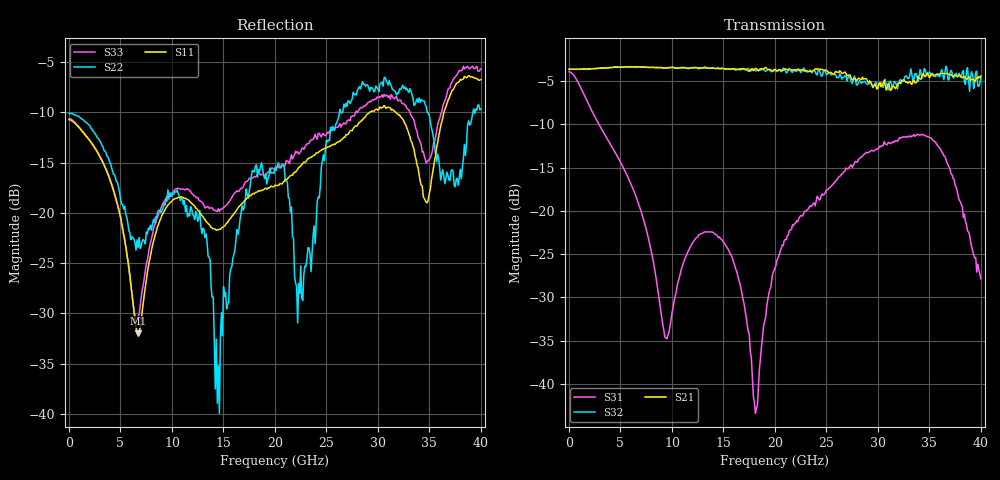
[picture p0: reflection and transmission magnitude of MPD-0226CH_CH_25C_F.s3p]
! MARKI MICROWAVE INC.
! Email:  info@markimicrowave.com  Phone:  408-778-4200
! Model Number:  MPD-0226CH  Date:  11/05/21
! Filename:		MPD-0226CH.S3P  Version: 1.0
! Description:  3-port S-parameter data for Power Divider MPD-0226CH
! Frequency Range: 	2 GHz to 26.5 GHz
! Port Configuration:	PORT 1:Output , PORT 2: COMMON, Port 3: Output
! S3P File: Measurements: Mag<S11> Ang<S11> Mag<S12> Ang<S12> Mag<S13> Ang<S13>! row 1
!  Mag<S21> Ang<S21> Mag<S22> Ang<S22> Mag<S23> Ang<S23>! row 2
!  Mag<S31> Ang<S31> Mag<S32> Ang<S32> Mag<S33> Ang<S33>! row 3
# Hz S  dB  R 50
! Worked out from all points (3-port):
!   401 points, 10 MHz to 40 GHz, reference 50 ohm
!   strongest paths, dB at 10 MHz, 10.01 GHz, 20 GHz, 30 GHz, 40 GHz:
!     S21: -3.7, -3.4, -3.7, -5.8, -4.4
!     S32: -3.6, -3.5, -3.8, -5.8, -4.5
!     S31: -4.0, -31.7, -26.6, -12.9, -27.8
!   lowest |S11| = -32.0 dB at 6.708 GHz (marker M1), VSWR 1.05, Z = 52.6 + j0.226 ohm
!   |S11| at or under -10 dB: start of sweep to 29.19 GHz; 31.73 GHz to 36.41 GHz (4.681 GHz wide, 13.7 % of centre)
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1e7  -10.74 179.8  -3.62 0.0  -3.94 -0.5
     -3.69 -0.0  -10.10 179.9  -3.61 -0.4
     -3.95 -0.5  -3.62 -0.3  -10.64 179.2
6.708325e9  -31.99 4.9  -3.38 -156.7  -19.03 167.0
            -3.41 -156.9  -23.43 56.6  -3.40 -158.1
            -19.05 166.8  -3.39 -158.0  -30.28 14.6
1.100725e10  -18.43 7.5  -3.58 101.6  -26.46 -90.3
             -3.48 101.3  -18.58 -13.6  -3.45 99.6
             -26.37 -90.3  -3.50 99.8  -17.61 8.1
1.470632e10  -21.64 4.9  -3.61 13.2  -23.19 159.7
             -3.56 12.8  -32.05 91.4  -3.58 10.6
             -23.20 159.3  -3.63 10.3  -19.65 3.7
1.810548e10  -17.97 7.4  -3.76 -68.3  -43.02 -3.5
             -3.56 -67.6  -15.34 -32.9  -3.70 -70.3
             -43.38 -1.7  -3.84 -71.6  -16.43 1.1
2.0005e10  -17.25 3.6  -3.92 -115.2  -26.77 -142.8
           -3.65 -116.0  -15.50 -103.3  -3.66 -119.8
           -26.61 -143.0  -3.78 -119.2  -15.68 -1.0
2.500375e10  -13.53 -8.1  -3.99 119.6  -17.62 116.9
             -3.77 117.7  -12.78 -56.4  -4.11 113.6
             -17.57 116.1  -4.30 114.6  -12.20 -15.5
2.900275e10  -10.16 -26.6  -5.07 21.2  -13.27 37.6
             -5.06 16.2  -7.30 169.2  -5.39 12.0
             -13.30 37.3  -5.41 16.2  -9.04 -33.2
3.390152e10  -15.51 -76.1  -4.60 -95.4  -11.11 -80.6
             -4.45 -92.7  -9.00 -4.1  -4.74 -97.9
             -11.18 -80.1  -5.07 -100.0  -12.49 -75.9
4e10  -6.75 -71.3  -4.21 96.9  -27.11 27.0
      -4.43 96.0  -9.69 -14.2  -4.06 95.0
      -27.85 28.8  -4.47 93.8  -5.68 -78.3
